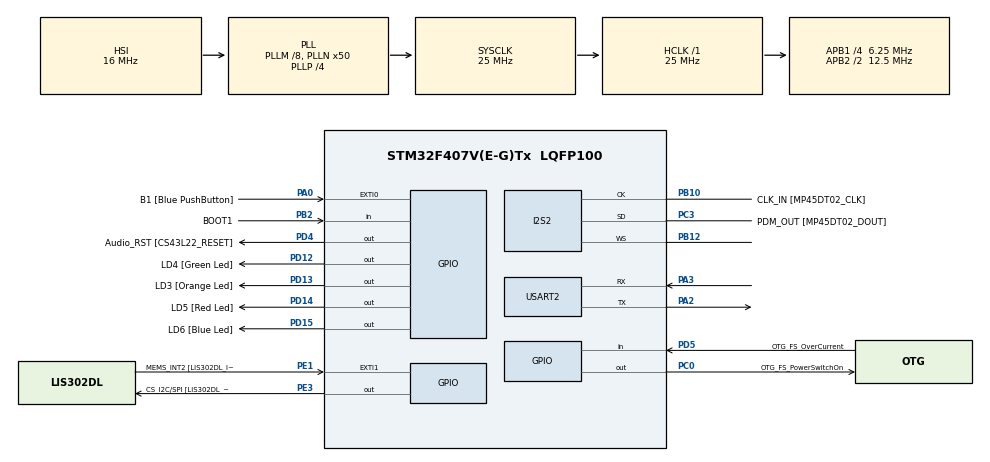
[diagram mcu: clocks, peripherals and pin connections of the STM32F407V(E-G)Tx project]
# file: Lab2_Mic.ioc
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I2S2.AudioFreq=I2S_AUDIOFREQ_192K
I2S2.ErrorAudioFreq=0.8 %
I2S2.Mode=I2S_MODE_MASTER_RX
I2S2.RealAudioFreq=193.548 KHz
Mcu.Family=STM32F4
Mcu.Name=STM32F407V(E-G)Tx
Mcu.Package=LQFP100
NVIC.PriorityGroup=NVIC_PRIORITYGROUP_0
PA0-WKUP.GPIO_Label=B1 [Blue PushButton]
PA0-WKUP.Signal=GPXTI0
PA10.GPIO_Label=OTG_FS_ID
PA10.GPIO_Mode=GPIO_MODE_AF_PP
PA10.GPIO_PuPd=GPIO_NOPULL
PA10.GPIO_Speed=GPIO_SPEED_FREQ_LOW
PA10.Signal=USB_OTG_FS_ID
PA11.GPIO_Label=OTG_FS_DM
PA11.GPIO_Mode=GPIO_MODE_AF_PP
PA11.GPIO_PuPd=GPIO_NOPULL
PA11.GPIO_Speed=GPIO_SPEED_FREQ_LOW
PA11.Signal=USB_OTG_FS_DM
PA12.GPIO_Label=OTG_FS_DP
PA12.GPIO_Mode=GPIO_MODE_AF_PP
PA12.GPIO_PuPd=GPIO_NOPULL
PA12.GPIO_Speed=GPIO_SPEED_FREQ_LOW
PA12.Signal=USB_OTG_FS_DP
PA13.GPIO_Label=SWDIO
PA13.Signal=SYS_JTMS-SWDIO
PA14.GPIO_Label=SWCLK
PA14.Signal=SYS_JTCK-SWCLK
PA2.Mode=Asynchronous
PA2.Signal=USART2_TX
PA3.Mode=Asynchronous
PA3.Signal=USART2_RX
PA4.GPIO_Label=I2S3_WS [CS43L22_LRCK]
PA4.GPIO_Mode=GPIO_MODE_AF_PP
PA4.GPIO_PuPd=GPIO_NOPULL
PA4.GPIO_Speed=GPIO_SPEED_FREQ_LOW
PA4.Signal=I2S3_WS
PA5.GPIO_Label=SPI1_SCK [LIS302DL_SCL/SPC]
PA5.GPIO_Mode=GPIO_MODE_AF_PP
PA5.GPIO_PuPd=GPIO_NOPULL
PA5.GPIO_Speed=GPIO_SPEED_FREQ_LOW
PA5.Signal=SPI1_SCK
PA6.GPIO_Label=SPI1_MISO [LIS302DL_SDO]
PA6.GPIO_Mode=GPIO_MODE_AF_PP
PA6.GPIO_PuPd=GPIO_NOPULL
PA6.GPIO_Speed=GPIO_SPEED_FREQ_LOW
PA6.Signal=SPI1_MISO
PA7.GPIO_Label=SPI1_MOSI [LIS302DL_SDA/SDI/SDO]
PA7.GPIO_Mode=GPIO_MODE_AF_PP
PA7.GPIO_PuPd=GPIO_NOPULL
PA7.GPIO_Speed=GPIO_SPEED_FREQ_LOW
PA7.Signal=SPI1_MOSI
PA9.GPIO_Label=VBUS_FS
PA9.GPIO_Mode=GPIO_MODE_INPUT
PA9.GPIO_PuPd=GPIO_NOPULL
PA9.Signal=USB_OTG_FS_VBUS
PB10.GPIO_Label=CLK_IN [MP45DT02_CLK]
PB10.GPIO_Mode=GPIO_MODE_AF_PP
PB10.GPIO_PuPd=GPIO_NOPULL
PB10.GPIO_Speed=GPIO_SPEED_FREQ_LOW
PB10.Mode=Half_Duplex_Master
PB10.Signal=I2S2_CK
PB12.Mode=Half_Duplex_Master
PB12.Signal=I2S2_WS
PB2.GPIO_Label=BOOT1
PB2.GPIO_Mode=GPIO_MODE_INPUT
PB2.GPIO_PuPd=GPIO_NOPULL
PB2.Signal=GPIO_Input
PB3.GPIO_Label=SWO
PB3.Signal=SYS_JTDO-SWO
PB6.GPIO_Label=Audio_SCL [CS43L22_SCL]
PB6.GPIO_Mode=GPIO_MODE_AF_OD
PB6.GPIO_PuPd=GPIO_NOPULL
PB6.GPIO_Speed=GPIO_SPEED_FREQ_LOW
PB6.Signal=I2C1_SCL
PB9.GPIO_Label=Audio_SDA [CS43L22_SDA]
PB9.GPIO_Mode=GPIO_MODE_AF_OD
PB9.GPIO_PuPd=GPIO_NOPULL
PB9.GPIO_Speed=GPIO_SPEED_FREQ_LOW
PB9.Signal=I2C1_SDA
PC0.GPIO_Label=OTG_FS_PowerSwitchOn
PC0.GPIO_PuPd=GPIO_NOPULL
PC0.GPIO_Speed=GPIO_SPEED_FREQ_LOW
PC0.PinState=GPIO_PIN_SET
PC0.Signal=GPIO_Output
PC10.GPIO_Label=I2S3_SCK [CS43L22_SCLK]
PC10.GPIO_Mode=GPIO_MODE_AF_PP
PC10.GPIO_PuPd=GPIO_NOPULL
PC10.GPIO_Speed=GPIO_SPEED_FREQ_LOW
PC10.Signal=I2S3_CK
PC12.GPIO_Label=I2S3_SD [CS43L22_SDIN]
PC12.GPIO_Mode=GPIO_MODE_AF_PP
PC12.GPIO_PuPd=GPIO_NOPULL
PC12.GPIO_Speed=GPIO_SPEED_FREQ_LOW
PC12.Signal=I2S3_SD
PC14-OSC32_IN.GPIO_Label=PC14-OSC32_IN
PC14-OSC32_IN.Signal=RCC_OSC32_IN
PC15-OSC32_OUT.GPIO_Label=PC15-OSC32_OUT
PC15-OSC32_OUT.Signal=RCC_OSC32_OUT
PC3.GPIO_Label=PDM_OUT [MP45DT02_DOUT]
PC3.GPIO_Mode=GPIO_MODE_AF_PP
PC3.GPIO_PuPd=GPIO_NOPULL
PC3.GPIO_Speed=GPIO_SPEED_FREQ_LOW
PC3.Mode=Half_Duplex_Master
PC3.Signal=I2S2_SD
PC7.GPIO_Label=I2S3_MCK [CS43L22_MCLK]
PC7.GPIO_Mode=GPIO_MODE_AF_PP
PC7.GPIO_PuPd=GPIO_NOPULL
PC7.GPIO_Speed=GPIO_SPEED_FREQ_LOW
PC7.Signal=I2S3_MCK
PD12.GPIO_Label=LD4 [Green Led]
PD12.GPIO_PuPd=GPIO_NOPULL
PD12.GPIO_Speed=GPIO_SPEED_FREQ_LOW
PD12.Signal=GPIO_Output
PD13.GPIO_Label=LD3 [Orange Led]
PD13.GPIO_PuPd=GPIO_NOPULL
PD13.GPIO_Speed=GPIO_SPEED_FREQ_LOW
PD13.Signal=GPIO_Output
PD14.GPIO_Label=LD5 [Red Led]
PD14.GPIO_PuPd=GPIO_NOPULL
PD14.GPIO_Speed=GPIO_SPEED_FREQ_LOW
PD14.Signal=GPIO_Output
PD15.GPIO_Label=LD6 [Blue Led]
PD15.GPIO_PuPd=GPIO_NOPULL
PD15.GPIO_Speed=GPIO_SPEED_FREQ_LOW
PD15.Signal=GPIO_Output
PD4.GPIO_Label=Audio_RST [CS43L22_RESET]
PD4.GPIO_PuPd=GPIO_NOPULL
PD4.GPIO_Speed=GPIO_SPEED_FREQ_LOW
PD4.Signal=GPIO_Output
PD5.GPIO_Label=OTG_FS_OverCurrent
PD5.GPIO_Mode=GPIO_MODE_INPUT
PD5.GPIO_PuPd=GPIO_NOPULL
PD5.Signal=GPIO_Input
PE1.GPIO_Label=MEMS_INT2 [LIS302DL_INT2]
PE1.GPIO_ModeDefaultEXTI=GPIO_MODE_EVT_RISING
PE1.GPIO_PuPd=GPIO_NOPULL
PE1.Signal=GPXTI1
PE3.GPIO_Label=CS_I2C/SPI [LIS302DL_CS_I2C/SPI]
PE3.GPIO_PuPd=GPIO_NOPULL
PE3.GPIO_Speed=GPIO_SPEED_FREQ_LOW
PE3.Signal=GPIO_Output
PH0-OSC_IN.GPIO_Label=PH0-OSC_IN
PH0-OSC_IN.Signal=RCC_OSC_IN
PH1-OSC_OUT.GPIO_Label=PH1-OSC_OUT
PH1-OSC_OUT.Signal=RCC_OSC_OUT
ProjectManager.HeapSize=0x200
ProjectManager.StackSize=0x400
ProjectManager.TargetToolchain=SW4STM32
RCC.48MHZClocksFreq_Value=14285714.285714285
RCC.AHBFreq_Value=25000000
RCC.APB1CLKDivider=RCC_HCLK_DIV4
RCC.APB1Freq_Value=6250000
RCC.APB1TimFreq_Value=12500000
RCC.APB2CLKDivider=RCC_HCLK_DIV2
RCC.APB2Freq_Value=12500000
RCC.APB2TimFreq_Value=25000000
RCC.CortexFreq_Value=25000000
RCC.HCLKFreq_Value=25000000
RCC.HSE_VALUE=8000000
RCC.HSI_VALUE=16000000
RCC.LSE_VALUE=32768
RCC.PLLM=8
RCC.PLLN=50
RCC.PLLP=RCC_PLLP_DIV4
RCC.PLLQ=7
RCC.SYSCLKFreq_VALUE=25000000
RCC.SYSCLKSource=RCC_SYSCLKSOURCE_PLLCLK
RCC.VCOOutputFreq_Value=100000000
board=STM32F407G-DISC1

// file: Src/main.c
/**
  ******************************************************************************
  * File Name          : main.c
  * Description        : Main program body
  ******************************************************************************
  *
  * COPYRIGHT(c) 2559 STMicroelectronics
  *
  * Redistribution and use in source and binary forms, with or without modification,
  * are permitted provided that the following conditions are met:
  *   1. Redistributions of source code must retain the above copyright notice,
  *      this list of conditions and the following disclaimer.
  *   2. Redistributions in binary form must reproduce the above copyright notice,
  *      this list of conditions and the following disclaimer in the documentation
  *      and/or other materials provided with the distribution.
  *   3. Neither the name of STMicroelectronics nor the names of its contributors
  *      may be used to endorse or promote products derived from this software
  *      without specific prior written permission.
  *
  * THIS SOFTWARE IS PROVIDED BY THE COPYRIGHT HOLDERS AND CONTRIBUTORS "AS IS"
  * AND ANY EXPRESS OR IMPLIED WARRANTIES, INCLUDING, BUT NOT LIMITED TO, THE
  * IMPLIED WARRANTIES OF MERCHANTABILITY AND FITNESS FOR A PARTICULAR PURPOSE ARE
  * DISCLAIMED. IN NO EVENT SHALL THE COPYRIGHT HOLDER OR CONTRIBUTORS BE LIABLE
  * FOR ANY DIRECT, INDIRECT, INCIDENTAL, SPECIAL, EXEMPLARY, OR CONSEQUENTIAL
  * DAMAGES (INCLUDING, BUT NOT LIMITED TO, PROCUREMENT OF SUBSTITUTE GOODS OR
  * SERVICES; LOSS OF USE, DATA, OR PROFITS; OR BUSINESS INTERRUPTION) HOWEVER
  * CAUSED AND ON ANY THEORY OF LIABILITY, WHETHER IN CONTRACT, STRICT LIABILITY,
  * OR TORT (INCLUDING NEGLIGENCE OR OTHERWISE) ARISING IN ANY WAY OUT OF THE USE
  * OF THIS SOFTWARE, EVEN IF ADVISED OF THE POSSIBILITY OF SUCH DAMAGE.
  *
  ******************************************************************************
  */
#include "main.h"
#include "stm32f4xx_hal.h"

I2S_HandleTypeDef hi2s2;

UART_HandleTypeDef huart2;

/* USER CODE BEGIN PV */
/* Private variables ---------------------------------------------------------*/

/* USER CODE END PV */

void SystemClock_Config(void);
void Error_Handler(void);
static void MX_GPIO_Init(void);
static void MX_I2S2_Init(void);
static void MX_USART2_UART_Init(void);

/* USER CODE BEGIN PFP */
/* Private function prototypes -----------------------------------------------*/

/* USER CODE END PFP */

/* USER CODE BEGIN 0 */
uint16_t buffer[20];
int16_t PDM=0;
uint8_t  PCM=0;
int i,c;
float PCM_buffer = 0.0;
float AMP = 0.0;
double PCM_avg = 0;
float AMP_max = 0; char AMP_max_str[10];

float my_abs(float x){
	if (x < 0) return -1*x;
	else return x;
}
void my_dtoc(double f,char * buffer){
    gcvt(f,10,buffer);
}
/* USER CODE END 0 */

int main(void)
{

  /* MCU Configuration----------------------------------------------------------*/

  /* Reset of all peripherals, Initializes the Flash interface and the Systick. */
  HAL_Init();

  /* Configure the system clock */
  SystemClock_Config();

  /* Initialize all configured peripherals */
  MX_GPIO_Init();
  MX_I2S2_Init();
  MX_USART2_UART_Init();

  /* USER CODE BEGIN 2 */

   /*Show LED for initializing complete*/
   HAL_GPIO_WritePin(GPIOD, GPIO_PIN_13,1);

  /* USER CODE END 2 */

  /* Infinite loop */
  /* USER CODE BEGIN WHILE */
  while (1)
  {
	  /* Read Value From I2S */
	  HAL_I2S_Receive(&hi2s2, buffer, 20, 1000);

	  for(i=0; i<20; i++){
	        PCM = -8;
	        PDM = buffer[i];
	        while ( PDM != 0 ) { /*Count High Bit in Sample Value*/
	          PCM ++; PDM ^= PDM & -PDM;
	        }
	        PCM_buffer += PCM;PCM_buffer *= 0.95;
	        AMP += my_abs(PCM_buffer);AMP *= 0.95;
	  }
	      c++;
	      if(AMP_max < AMP) {AMP_max = AMP;}
	      PCM_avg += (AMP/2048)*AMP;
	      if(c == 2048){
	    	my_dtoc(AMP_max,AMP_max_str);
	    	int k = (int)((AMP_max-50000)/3000);
	    	if (k>=6) {
	    		HAL_GPIO_WritePin(GPIOD, GPIO_PIN_12,1);
	    		HAL_GPIO_WritePin(GPIOD, GPIO_PIN_14,1);
	    		HAL_GPIO_WritePin(GPIOD, GPIO_PIN_15,1);
	    	} else {
	    		HAL_GPIO_WritePin(GPIOD, GPIO_PIN_12,0);
	    		HAL_GPIO_WritePin(GPIOD, GPIO_PIN_14,0);
	    		HAL_GPIO_WritePin(GPIOD, GPIO_PIN_15,0);
	    	}
	    	for (i=0;i<k;i++) { HAL_UART_Transmit(&huart2,"*",1, 1000); }
	    	for (i=0;i<20-k;i++) { HAL_UART_Transmit(&huart2," ",1, 1000); }
	      	HAL_UART_Transmit(&huart2,AMP_max_str,10, 1000);
	      	HAL_UART_Transmit(&huart2,"\n\r",2, 1000);
	      	PCM_avg = 0;AMP_max = 0;c = 0;
	      }

  /* USER CODE END WHILE */

  }

}

/** System Clock Configuration
*/
void SystemClock_Config(void)
{

  RCC_OscInitTypeDef RCC_OscInitStruct;
  RCC_ClkInitTypeDef RCC_ClkInitStruct;
  RCC_PeriphCLKInitTypeDef PeriphClkInitStruct;

    /**Configure the main internal regulator output voltage
    */
  __HAL_RCC_PWR_CLK_ENABLE();

  __HAL_PWR_VOLTAGESCALING_CONFIG(PWR_REGULATOR_VOLTAGE_SCALE1);

    /**Initializes the CPU, AHB and APB busses clocks
    */
  RCC_OscInitStruct.OscillatorType = RCC_OSCILLATORTYPE_HSI;
  RCC_OscInitStruct.HSIState = RCC_HSI_ON;
  RCC_OscInitStruct.HSICalibrationValue = 16;
  RCC_OscInitStruct.PLL.PLLState = RCC_PLL_ON;
  RCC_OscInitStruct.PLL.PLLSource = RCC_PLLSOURCE_HSI;
  RCC_OscInitStruct.PLL.PLLM = 8;
  RCC_OscInitStruct.PLL.PLLN = 50;
  RCC_OscInitStruct.PLL.PLLP = RCC_PLLP_DIV4;
  RCC_OscInitStruct.PLL.PLLQ = 7;
  if (HAL_RCC_OscConfig(&RCC_OscInitStruct) != HAL_OK)
  {
    Error_Handler();
  }

    /**Initializes the CPU, AHB and APB busses clocks
    */
  RCC_ClkInitStruct.ClockType = RCC_CLOCKTYPE_HCLK|RCC_CLOCKTYPE_SYSCLK
                              |RCC_CLOCKTYPE_PCLK1|RCC_CLOCKTYPE_PCLK2;
  RCC_ClkInitStruct.SYSCLKSource = RCC_SYSCLKSOURCE_PLLCLK;
  RCC_ClkInitStruct.AHBCLKDivider = RCC_SYSCLK_DIV1;
  RCC_ClkInitStruct.APB1CLKDivider = RCC_HCLK_DIV4;
  RCC_ClkInitStruct.APB2CLKDivider = RCC_HCLK_DIV2;

  if (HAL_RCC_ClockConfig(&RCC_ClkInitStruct, FLASH_LATENCY_0) != HAL_OK)
  {
    Error_Handler();
  }

  PeriphClkInitStruct.PeriphClockSelection = RCC_PERIPHCLK_I2S;
  PeriphClkInitStruct.PLLI2S.PLLI2SN = 192;
  PeriphClkInitStruct.PLLI2S.PLLI2SR = 2;
  if (HAL_RCCEx_PeriphCLKConfig(&PeriphClkInitStruct) != HAL_OK)
  {
    Error_Handler();
  }

    /**Configure the Systick interrupt time
    */
  HAL_SYSTICK_Config(HAL_RCC_GetHCLKFreq()/1000);

    /**Configure the Systick
    */
  HAL_SYSTICK_CLKSourceConfig(SYSTICK_CLKSOURCE_HCLK);

  /* SysTick_IRQn interrupt configuration */
  HAL_NVIC_SetPriority(SysTick_IRQn, 0, 0);
}

/* I2S2 init function */
static void MX_I2S2_Init(void)
{

  hi2s2.Instance = SPI2;
  hi2s2.Init.Mode = I2S_MODE_MASTER_RX;
  hi2s2.Init.Standard = I2S_STANDARD_PHILIPS;
  hi2s2.Init.DataFormat = I2S_DATAFORMAT_16B;
  hi2s2.Init.MCLKOutput = I2S_MCLKOUTPUT_DISABLE;
  hi2s2.Init.AudioFreq = I2S_AUDIOFREQ_192K;
  hi2s2.Init.CPOL = I2S_CPOL_LOW;
  hi2s2.Init.ClockSource = I2S_CLOCK_PLL;
  hi2s2.Init.FullDuplexMode = I2S_FULLDUPLEXMODE_DISABLE;
  if (HAL_I2S_Init(&hi2s2) != HAL_OK)
  {
    Error_Handler();
  }

}

/* USART2 init function */
static void MX_USART2_UART_Init(void)
{

  huart2.Instance = USART2;
  huart2.Init.BaudRate = 115200;
  huart2.Init.WordLength = UART_WORDLENGTH_8B;
  huart2.Init.StopBits = UART_STOPBITS_1;
  huart2.Init.Parity = UART_PARITY_NONE;
  huart2.Init.Mode = UART_MODE_TX_RX;
  huart2.Init.HwFlowCtl = UART_HWCONTROL_NONE;
  huart2.Init.OverSampling = UART_OVERSAMPLING_16;
  if (HAL_UART_Init(&huart2) != HAL_OK)
  {
    Error_Handler();
  }

}

/** Configure pins as
        * Analog
        * Input
        * Output
        * EVENT_OUT
        * EXTI
     PA4   ------> I2S3_WS
     PA5   ------> SPI1_SCK
     PA6   ------> SPI1_MISO
     PA7   ------> SPI1_MOSI
     PC7   ------> I2S3_MCK
     PA9   ------> USB_OTG_FS_VBUS
     PA10   ------> USB_OTG_FS_ID
     PA11   ------> USB_OTG_FS_DM
     PA12   ------> USB_OTG_FS_DP
     PC10   ------> I2S3_CK
     PC12   ------> I2S3_SD
     PB6   ------> I2C1_SCL
     PB9   ------> I2C1_SDA
*/
static void MX_GPIO_Init(void)
{

  GPIO_InitTypeDef GPIO_InitStruct;

  /* GPIO Ports Clock Enable */
  __HAL_RCC_GPIOE_CLK_ENABLE();
  __HAL_RCC_GPIOC_CLK_ENABLE();
  __HAL_RCC_GPIOH_CLK_ENABLE();
  __HAL_RCC_GPIOA_CLK_ENABLE();
  __HAL_RCC_GPIOB_CLK_ENABLE();
  __HAL_RCC_GPIOD_CLK_ENABLE();

  /*Configure GPIO pin Output Level */
  HAL_GPIO_WritePin(CS_I2C_SPI_GPIO_Port, CS_I2C_SPI_Pin, GPIO_PIN_RESET);

  /*Configure GPIO pin Output Level */
  HAL_GPIO_WritePin(OTG_FS_PowerSwitchOn_GPIO_Port, OTG_FS_PowerSwitchOn_Pin, GPIO_PIN_SET);

  /*Configure GPIO pin Output Level */
  HAL_GPIO_WritePin(GPIOD, LD4_Pin|LD3_Pin|LD5_Pin|LD6_Pin
                          |Audio_RST_Pin, GPIO_PIN_RESET);

  /*Configure GPIO pin : CS_I2C_SPI_Pin */
  GPIO_InitStruct.Pin = CS_I2C_SPI_Pin;
  GPIO_InitStruct.Mode = GPIO_MODE_OUTPUT_PP;
  GPIO_InitStruct.Pull = GPIO_NOPULL;
  GPIO_InitStruct.Speed = GPIO_SPEED_FREQ_LOW;
  HAL_GPIO_Init(CS_I2C_SPI_GPIO_Port, &GPIO_InitStruct);

  /*Configure GPIO pin : OTG_FS_PowerSwitchOn_Pin */
  GPIO_InitStruct.Pin = OTG_FS_PowerSwitchOn_Pin;
  GPIO_InitStruct.Mode = GPIO_MODE_OUTPUT_PP;
  GPIO_InitStruct.Pull = GPIO_NOPULL;
  GPIO_InitStruct.Speed = GPIO_SPEED_FREQ_LOW;
  HAL_GPIO_Init(OTG_FS_PowerSwitchOn_GPIO_Port, &GPIO_InitStruct);

  /*Configure GPIO pin : B1_Pin */
  GPIO_InitStruct.Pin = B1_Pin;
  GPIO_InitStruct.Mode = GPIO_MODE_IT_RISING;
  GPIO_InitStruct.Pull = GPIO_NOPULL;
  HAL_GPIO_Init(B1_GPIO_Port, &GPIO_InitStruct);

  /*Configure GPIO pin : I2S3_WS_Pin */
  GPIO_InitStruct.Pin = I2S3_WS_Pin;
  GPIO_InitStruct.Mode = GPIO_MODE_AF_PP;
  GPIO_InitStruct.Pull = GPIO_NOPULL;
  GPIO_InitStruct.Speed = GPIO_SPEED_FREQ_LOW;
  GPIO_InitStruct.Alternate = GPIO_AF6_SPI3;
  HAL_GPIO_Init(I2S3_WS_GPIO_Port, &GPIO_InitStruct);

  /*Configure GPIO pins : SPI1_SCK_Pin SPI1_MISO_Pin SPI1_MOSI_Pin */
  GPIO_InitStruct.Pin = SPI1_SCK_Pin|SPI1_MISO_Pin|SPI1_MOSI_Pin;
  GPIO_InitStruct.Mode = GPIO_MODE_AF_PP;
  GPIO_InitStruct.Pull = GPIO_NOPULL;
  GPIO_InitStruct.Speed = GPIO_SPEED_FREQ_LOW;
  GPIO_InitStruct.Alternate = GPIO_AF5_SPI1;
  HAL_GPIO_Init(GPIOA, &GPIO_InitStruct);

  /*Configure GPIO pin : BOOT1_Pin */
  GPIO_InitStruct.Pin = BOOT1_Pin;
  GPIO_InitStruct.Mode = GPIO_MODE_INPUT;
  GPIO_InitStruct.Pull = GPIO_NOPULL;
  HAL_GPIO_Init(BOOT1_GPIO_Port, &GPIO_InitStruct);

  /*Configure GPIO pins : LD4_Pin LD3_Pin LD5_Pin LD6_Pin
                           Audio_RST_Pin */
  GPIO_InitStruct.Pin = LD4_Pin|LD3_Pin|LD5_Pin|LD6_Pin
                          |Audio_RST_Pin;
  GPIO_InitStruct.Mode = GPIO_MODE_OUTPUT_PP;
  GPIO_InitStruct.Pull = GPIO_NOPULL;
  GPIO_InitStruct.Speed = GPIO_SPEED_FREQ_LOW;
  HAL_GPIO_Init(GPIOD, &GPIO_InitStruct);

  /*Configure GPIO pins : I2S3_MCK_Pin I2S3_SCK_Pin I2S3_SD_Pin */
  GPIO_InitStruct.Pin = I2S3_MCK_Pin|I2S3_SCK_Pin|I2S3_SD_Pin;
  GPIO_InitStruct.Mode = GPIO_MODE_AF_PP;
  GPIO_InitStruct.Pull = GPIO_NOPULL;
  GPIO_InitStruct.Speed = GPIO_SPEED_FREQ_LOW;
  GPIO_InitStruct.Alternate = GPIO_AF6_SPI3;
  HAL_GPIO_Init(GPIOC, &GPIO_InitStruct);

  /*Configure GPIO pin : VBUS_FS_Pin */
  GPIO_InitStruct.Pin = VBUS_FS_Pin;
  GPIO_InitStruct.Mode = GPIO_MODE_INPUT;
  GPIO_InitStruct.Pull = GPIO_NOPULL;
  HAL_GPIO_Init(VBUS_FS_GPIO_Port, &GPIO_InitStruct);

  /*Configure GPIO pins : OTG_FS_ID_Pin OTG_FS_DM_Pin OTG_FS_DP_Pin */
  GPIO_InitStruct.Pin = OTG_FS_ID_Pin|OTG_FS_DM_Pin|OTG_FS_DP_Pin;
  GPIO_InitStruct.Mode = GPIO_MODE_AF_PP;
  GPIO_InitStruct.Pull = GPIO_NOPULL;
  GPIO_InitStruct.Speed = GPIO_SPEED_FREQ_LOW;
  GPIO_InitStruct.Alternate = GPIO_AF10_OTG_FS;
  HAL_GPIO_Init(GPIOA, &GPIO_InitStruct);

  /*Configure GPIO pin : OTG_FS_OverCurrent_Pin */
  GPIO_InitStruct.Pin = OTG_FS_OverCurrent_Pin;
  GPIO_InitStruct.Mode = GPIO_MODE_INPUT;
  GPIO_InitStruct.Pull = GPIO_NOPULL;
  HAL_GPIO_Init(OTG_FS_OverCurrent_GPIO_Port, &GPIO_InitStruct);

  /*Configure GPIO pins : Audio_SCL_Pin Audio_SDA_Pin */
  GPIO_InitStruct.Pin = Audio_SCL_Pin|Audio_SDA_Pin;
  GPIO_InitStruct.Mode = GPIO_MODE_AF_OD;
  GPIO_InitStruct.Pull = GPIO_PULLUP;
  GPIO_InitStruct.Speed = GPIO_SPEED_FREQ_LOW;
  GPIO_InitStruct.Alternate = GPIO_AF4_I2C1;
  HAL_GPIO_Init(GPIOB, &GPIO_InitStruct);

  /*Configure GPIO pin : MEMS_INT2_Pin */
  GPIO_InitStruct.Pin = MEMS_INT2_Pin;
  GPIO_InitStruct.Mode = GPIO_MODE_EVT_RISING;
  GPIO_InitStruct.Pull = GPIO_NOPULL;
  HAL_GPIO_Init(MEMS_INT2_GPIO_Port, &GPIO_InitStruct);

}

void Error_Handler(void)
{
  while(1)
  {
  }
}

/************************ (C) COPYRIGHT STMicroelectronics *****END OF FILE****/
